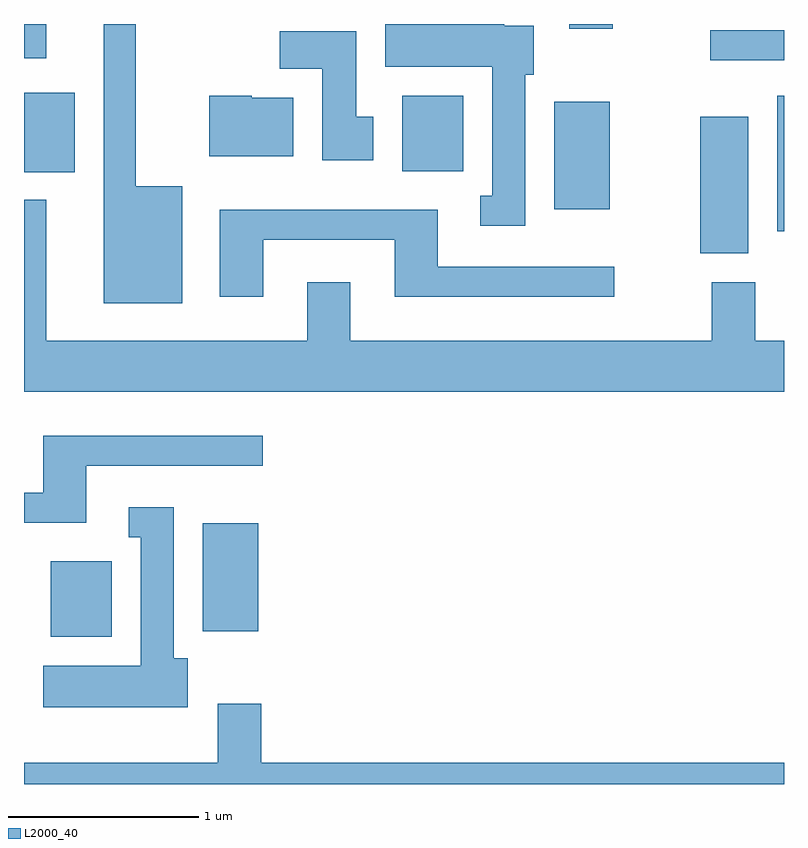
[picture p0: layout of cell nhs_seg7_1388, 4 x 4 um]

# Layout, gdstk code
import gdstk
lib = gdstk.Library(unit=1e-6, precision=1e-09)
def R(c, l, rs):  # rectangles x0, y0, x1, y1
    for r in rs: c.add(gdstk.rectangle(r[:2], r[2:], *l))
def P(c, l, *ps):  # polygons
    for p in ps: c.add(gdstk.Polygon(p, *l))
L2000_40 = (2000, 40)

nhs_seg7_1388 = lib.new_cell('nhs_seg7_1388')
R(nhs_seg7_1388, L2000_40, [(227.751,1713.026,228.074,1713.424), (228.551,1713.056,228.844,1713.624), (231.171,1715.046,231.424,1715.764), (231.576,1715.161,231.611,1715.874), (230.401,1715.276,230.694,1715.844), (227.611,1715.471,227.879,1715.889), (229.601,1715.476,229.924,1715.874), (231.223,1716.061,231.611,1716.219), (227.611,1716.073,227.729,1716.252), (230.481,1716.226,230.709,1716.252)])
P(nhs_seg7_1388, L2000_40, [(230.249,1715.986),(230.294,1715.986),(230.294,1716.244),(230.139,1716.244),(230.139,1716.252),(229.511,1716.252),(229.511,1716.026),(230.076,1716.026),(230.076,1715.349),(230.013,1715.349),(230.013,1715.191),(230.249,1715.191)],
  [(228.444,1715.399),(228.199,1715.399),(228.199,1716.252),(228.031,1716.252),(228.031,1714.781),(228.444,1714.781)],
  [(229.449,1715.764),(229.359,1715.764),(229.359,1716.214),(228.956,1716.214),(228.956,1716.016),(229.181,1716.016),(229.181,1715.536),(229.449,1715.536)],
  [(229.029,1715.864),(228.81,1715.864),(228.81,1715.874),(228.586,1715.874),(228.586,1715.556),(229.029,1715.556)],
  [(231.611,1714.584),(231.459,1714.584),(231.459,1714.894),(231.231,1714.894),(231.231,1714.584),(229.329,1714.584),(229.329,1714.894),(229.101,1714.894),(229.101,1714.584),(227.729,1714.584),(227.729,1715.328),(227.611,1715.328),(227.611,1714.316),(231.611,1714.316)],
  [(228.869,1715.116),(229.561,1715.116),(229.561,1714.816),(230.718,1714.816),(230.718,1714.974),(229.789,1714.974),(229.789,1715.274),(228.641,1715.274),(228.641,1714.816),(228.869,1714.816)],
  [(227.939,1713.926),(228.868,1713.926),(228.868,1714.084),(227.711,1714.084),(227.711,1713.784),(227.611,1713.784),(227.611,1713.626),(227.939,1713.626)],
  [(228.474,1712.914),(228.399,1712.914),(228.399,1713.709),(228.163,1713.709),(228.163,1713.551),(228.226,1713.551),(228.226,1712.874),(227.711,1712.874),(227.711,1712.656),(228.474,1712.656)],
  [(228.859,1712.674),(228.631,1712.674),(228.631,1712.364),(227.611,1712.364),(227.611,1712.252),(231.611,1712.252),(231.611,1712.364),(228.859,1712.364)])

lib.write_gds('nhs_seg7_1388.gds')
